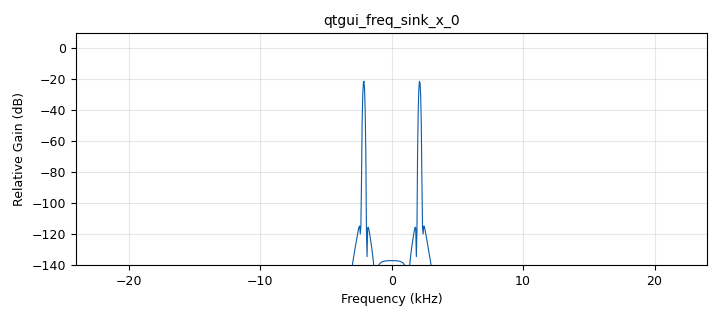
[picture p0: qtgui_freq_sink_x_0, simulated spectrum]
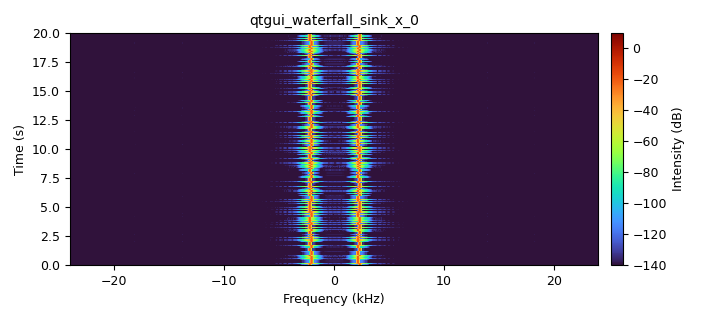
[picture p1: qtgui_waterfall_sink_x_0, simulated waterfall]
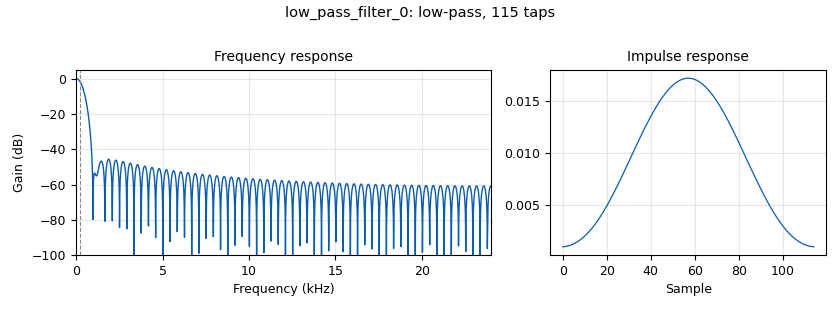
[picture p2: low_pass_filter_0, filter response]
options:
  parameters:
    author: gpellaeon
    generate_options: qt_gui
    id: fsk
    output_language: python
    title: Not titled yet
  states: {}

blocks:
- name: baud
  id: variable
  parameters:
    value: '45.4545'
  states: {}
- name: center
  id: variable
  parameters:
    value: '2210'
  states: {}
- name: delay
  id: variable_qtgui_range
  parameters:
    label: Delay
    orient: Qt.Horizontal
    start: '0'
    step: '1'
    stop: '250'
    value: '200'
  states: {}
- name: fsk_deviation
  id: variable
  parameters:
    value: '170'
  states: {}
- name: inp_amp
  id: variable
  parameters:
    value: '0.068'
  states: {}
- name: repeat
  id: variable
  parameters:
    value: '1056'
  states: {}
- name: samp_rate
  id: variable
  parameters:
    value: '48000'
  states: {}
- name: sq_lvl
  id: variable_qtgui_range
  parameters:
    label: Squelch
    orient: Qt.Horizontal
    start: '-100'
    step: '5'
    stop: '0'
    value: '-70'
  states: {}
- name: vco_max
  id: variable
  parameters:
    value: 2.5e3
  states: {}
- name: vco_offset
  id: variable
  parameters:
    value: '0.85'
  states: {}
- name: analog_random_source_x_0
  id: analog_random_source_x
  parameters:
    max: '256'
    min: '0'
    num_samps: '1000'
    repeat: 'True'
    type: byte
  states: {}
- name: blocks_add_const_vxx_0
  id: blocks_add_const_vxx
  parameters:
    const: vco_offset
    type: float
  states: {}
- name: blocks_multiply_const_vxx_0
  id: blocks_multiply_const_vxx
  parameters:
    const: inp_amp
    type: float
  states: {}
- name: blocks_repeat_0
  id: blocks_repeat
  parameters:
    interp: repeat
    type: byte
  states: {}
- name: blocks_throttle_0
  id: blocks_throttle
  parameters:
    samples_per_second: samp_rate
    type: byte
  states: {}
- name: blocks_uchar_to_float_0
  id: blocks_uchar_to_float
  parameters: {}
  states: {}
- name: blocks_unpack_k_bits_bb_0
  id: blocks_unpack_k_bits_bb
  parameters:
    k: '8'
  states: {}
- name: blocks_vco_f_0
  id: blocks_vco_f
  parameters:
    amplitude: '0.5'
    samp_rate: samp_rate
    sensitivity: 15.708e3
  states: {}
- name: low_pass_filter_0
  id: low_pass_filter
  parameters:
    cutoff_freq: '200'
    decim: '1'
    gain: '1'
    samp_rate: samp_rate
    type: fir_filter_fff
    width: '1000'
    win: firdes.WIN_HAMMING
  states: {}
- name: qtgui_freq_sink_x_0
  id: qtgui_freq_sink_x
  parameters:
    bw: samp_rate
    fc: '0'
    fftsize: '1024'
    type: float
    wintype: firdes.WIN_BLACKMAN_hARRIS
  states: {}
- name: qtgui_time_sink_x_0
  id: qtgui_time_sink_x
  parameters:
    ctrlpanel: 'True'
    size: '1024'
    srate: samp_rate
    type: float
  states: {state: disabled}
- name: qtgui_waterfall_sink_x_0
  id: qtgui_waterfall_sink_x
  parameters:
    bw: samp_rate
    fc: '0'
    fftsize: '1024'
    type: float
    wintype: firdes.WIN_BLACKMAN_hARRIS
  states: {}
- name: virtual_sink_0
  id: virtual_sink
  parameters:
    stream_id: '"xmt_data"'
  states: {}
- name: virtual_sink_0_0
  id: virtual_sink
  parameters:
    stream_id: '"fsk_out"'
  states: {state: disabled}
- name: virtual_source_0
  id: virtual_source
  parameters:
    stream_id: '"xmt_data"'
  states: {}

connections:
- [analog_random_source_x_0, '0', blocks_unpack_k_bits_bb_0, '0']
- [blocks_add_const_vxx_0, '0', blocks_vco_f_0, '0']
- [blocks_multiply_const_vxx_0, '0', blocks_add_const_vxx_0, '0']
- [blocks_repeat_0, '0', blocks_throttle_0, '0']
- [blocks_throttle_0, '0', blocks_uchar_to_float_0, '0']
- [blocks_uchar_to_float_0, '0', qtgui_time_sink_x_0, '0']
- [blocks_uchar_to_float_0, '0', virtual_sink_0, '0']
- [blocks_unpack_k_bits_bb_0, '0', blocks_repeat_0, '0']
- [blocks_vco_f_0, '0', qtgui_freq_sink_x_0, '0']
- [blocks_vco_f_0, '0', qtgui_waterfall_sink_x_0, '0']
- [blocks_vco_f_0, '0', virtual_sink_0_0, '0']
- [low_pass_filter_0, '0', blocks_multiply_const_vxx_0, '0']
- [virtual_source_0, '0', low_pass_filter_0, '0']

metadata:
  file_format: 1
